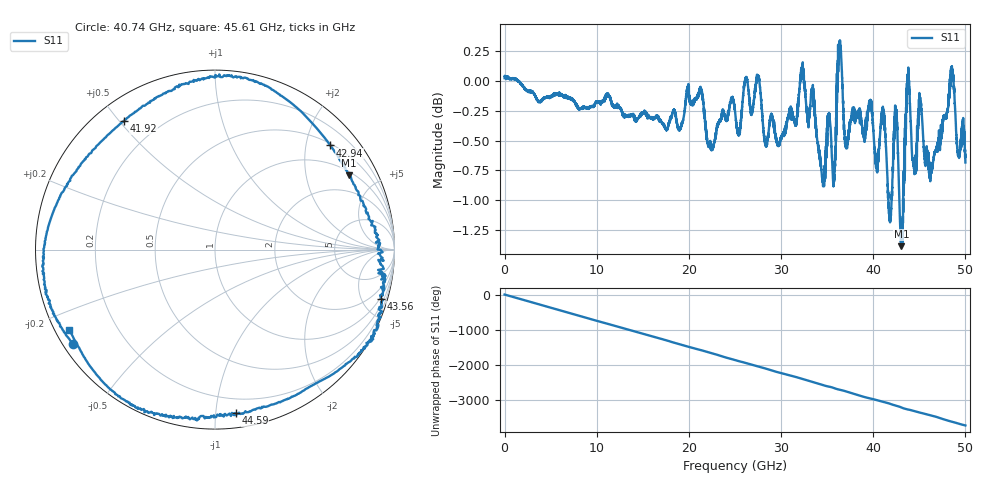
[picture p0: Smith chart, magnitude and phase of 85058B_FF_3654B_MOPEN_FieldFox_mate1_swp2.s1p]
!Created with skrf (http://scikit-rf.org).
# Hz S RI R 50.0
!freq ReS11 ImS11
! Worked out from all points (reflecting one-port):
!   10001 points, 300 kHz to 50 GHz, reference 50 ohm
!   lowest |S11| = -1.4 dB at 43.06 GHz (marker M1), VSWR 12.58, Z = 57.9 + j175 ohm
!   phase of S11 starts at 0 deg and turns -3722 deg over the sweep
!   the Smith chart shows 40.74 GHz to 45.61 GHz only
!   S11 on the Smith chart (normalised r, x): 40.74 GHz: 0.03, -0.30; 41.92 GHz: 0.08, +0.51; 42.94 GHz: 0.54, +2.50; 43.56 GHz: 0.91, -6.79; 44.59 GHz: 0.10, -1.13; 45.61 GHz: 0.04, -0.26
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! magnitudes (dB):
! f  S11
! 300 kHz  0.0
! 6.25 GHz  -0.1
! 12.5 GHz  -0.2
! 18.75 GHz  -0.4
! 25 GHz  -0.3
! 31.25 GHz  -0.3
! 32.31 GHz  0.1
! 34.51 GHz  -0.8
! 35.2 GHz  -0.3
! 35.69 GHz  -0.9
! 36.38 GHz  0.3
! 37 GHz  -0.5
! 37.5 GHz  -0.3
! 40.74 GHz  -0.4
! 41.15 GHz  -0.3
! 41.92 GHz  -1.1
! 42.44 GHz  -0.3
! 42.94 GHz  -1.2
! 43.06 GHz  -1.4
! 43.56 GHz  -0.3
! 43.75 GHz  0.0
! 44.59 GHz  -0.7
! 45.1 GHz  -0.1
! 45.61 GHz  -0.7
! 46.35 GHz  -0.7
! 48.54 GHz  0.0
! 49.2 GHz  -0.6
! 50 GHz  -0.7
